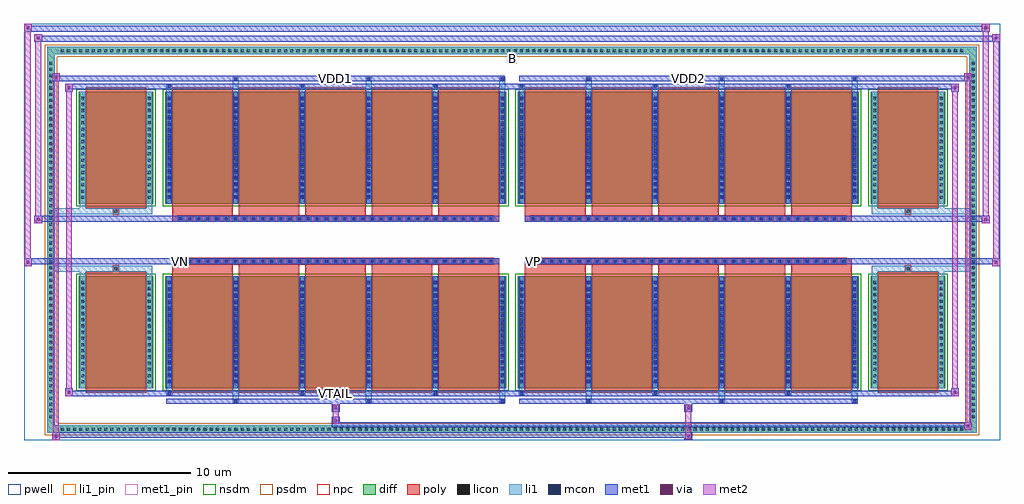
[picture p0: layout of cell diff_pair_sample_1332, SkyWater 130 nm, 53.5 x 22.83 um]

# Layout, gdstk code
import gdstk
lib = gdstk.Library(unit=1e-6, precision=5e-09)
def R(c, l, rs):  # rectangles x0, y0, x1, y1
    for r in rs: c.add(gdstk.rectangle(r[:2], r[2:], *l))
def A(c, l, x, y, w, h, nx, ny, dx, dy):  # array of equal rectangles
    R(c, l, [(x+i*dx, y+j*dy, x+i*dx+w, y+j*dy+h) for i in range(nx) for j in range(ny)])
def P(c, l, *ps):  # polygons
    for p in ps: c.add(gdstk.Polygon(p, *l))
pwell = (64, 44)
diff = (65, 20)
poly = (66, 20)
licon = (66, 44)
li1_pin = (67, 16)
li1 = (67, 20)
mcon = (67, 44)
met1_pin = (68, 16)
met1 = (68, 20)
via = (68, 44)
met2 = (69, 20)
nsdm = (93, 44)
psdm = (94, 20)
npc = (95, 20)

diff_pair_sample_1332 = lib.new_cell('diff_pair_sample_1332')
R(diff_pair_sample_1332, pwell, [(-26.75,-10.98,26.75,11.85), (-24.07,-9.17,-0.01,-0.805), (0.01,-9.17,24.07,-0.805), (-24.07,0.805,-0.01,9.17), (0.01,0.805,24.07,9.17)])
A(diff_pair_sample_1332, diff, -24.855, -10.58, 0.41, 0.41, 146, 2, 0.34, 20.75)
A(diff_pair_sample_1332, diff, -25.48, -9.895, 0.41, 0.41, 1, 58, 0, 0.34)
A(diff_pair_sample_1332, diff, 25.07, -9.895, 0.41, 0.41, 1, 58, 0, 0.34)
R(diff_pair_sample_1332, diff, [(-24.855,-10.58,24.855,-10.17), (-25.48,-9.895,-25.07,9.895), (25.07,-9.895,25.48,9.895), (-23.76,-8.125,-19.66,-1.985), (-19.02,-8.125,-0.32,-1.985), (0.32,-8.125,19.02,-1.985), (19.66,-8.125,23.76,-1.985), (-23.76,1.985,-19.66,8.125), (-19.02,1.985,-0.32,8.125), (0.32,1.985,19.02,8.125), (19.66,1.985,23.76,8.125), (-24.855,10.17,24.855,10.58)])
P(diff_pair_sample_1332, diff, [(25.48,10.58),(-25.48,10.58),(-25.48,-10.17),(-25.07,-10.17),(-25.07,10.17),(25.07,10.17),(25.07,-10.17),(-25.07,-10.17),(-25.48,-10.17),(-25.48,-10.58),(25.48,-10.58)])
A(diff_pair_sample_1332, poly, -18.63, -8.375, 3.32, 6.64, 5, 2, 3.65, 10.11)
A(diff_pair_sample_1332, poly, 0.71, -8.375, 3.32, 6.64, 5, 2, 3.65, 10.11)
A(diff_pair_sample_1332, poly, -18.63, -1.735, 3.32, 0.4, 5, 2, 3.65, 3.07)
A(diff_pair_sample_1332, poly, 0.71, -1.735, 3.32, 0.4, 5, 2, 3.65, 3.07)
A(diff_pair_sample_1332, poly, -18.335, -1.335, 0.33, 0.33, 35, 2, 0.5, 2.34)
A(diff_pair_sample_1332, poly, 1.005, -1.335, 0.33, 0.33, 35, 2, 0.5, 2.34)
R(diff_pair_sample_1332, poly, [(-23.37,-8.375,-20.05,-1.735), (20.05,-8.375,23.37,-1.735), (-21.875,-1.735,-21.545,-1.405), (-21.875,-1.735,-21.545,-1.405), (21.545,-1.735,21.875,-1.405), (21.545,-1.735,21.875,-1.405), (-18.63,-1.335,-0.71,-1.005), (0.71,-1.335,18.63,-1.005), (-18.63,1.005,-0.71,1.335), (0.71,1.005,18.63,1.335), (-21.875,1.405,-21.545,1.735), (-21.875,1.405,-21.545,1.735), (21.545,1.405,21.875,1.735), (21.545,1.405,21.875,1.735), (-23.37,1.735,-20.05,8.375), (20.05,1.735,23.37,8.375)])
A(diff_pair_sample_1332, licon, -24.735, -10.46, 0.17, 0.17, 146, 2, 0.34, 20.75)
A(diff_pair_sample_1332, licon, -25.36, -9.775, 0.17, 0.17, 1, 58, 0, 0.34)
A(diff_pair_sample_1332, licon, 25.19, -9.775, 0.17, 0.17, 1, 58, 0, 0.34)
A(diff_pair_sample_1332, licon, -23.62, -7.86, 0.17, 0.17, 1, 17, 0, 0.34)
A(diff_pair_sample_1332, licon, -19.97, -7.86, 0.17, 0.17, 1, 17, 0, 0.34)
A(diff_pair_sample_1332, licon, -18.88, -7.86, 0.17, 0.17, 6, 17, 3.65, 0.34)
A(diff_pair_sample_1332, licon, 0.46, -7.86, 0.17, 0.17, 6, 17, 3.65, 0.34)
A(diff_pair_sample_1332, licon, 19.8, -7.86, 0.17, 0.17, 1, 17, 0, 0.34)
A(diff_pair_sample_1332, licon, 23.45, -7.86, 0.17, 0.17, 1, 17, 0, 0.34)
A(diff_pair_sample_1332, licon, -18.255, -1.255, 0.17, 0.17, 35, 2, 0.5, 2.34)
A(diff_pair_sample_1332, licon, 1.085, -1.255, 0.17, 0.17, 35, 2, 0.5, 2.34)
A(diff_pair_sample_1332, licon, -23.62, 2.25, 0.17, 0.17, 1, 17, 0, 0.34)
A(diff_pair_sample_1332, licon, -19.97, 2.25, 0.17, 0.17, 1, 17, 0, 0.34)
A(diff_pair_sample_1332, licon, -18.88, 2.25, 0.17, 0.17, 6, 17, 3.65, 0.34)
A(diff_pair_sample_1332, licon, 0.46, 2.25, 0.17, 0.17, 6, 17, 3.65, 0.34)
A(diff_pair_sample_1332, licon, 19.8, 2.25, 0.17, 0.17, 1, 17, 0, 0.34)
A(diff_pair_sample_1332, licon, 23.45, 2.25, 0.17, 0.17, 1, 17, 0, 0.34)
R(diff_pair_sample_1332, licon, [(-21.795,-1.655,-21.625,-1.485), (21.625,-1.655,21.795,-1.485), (-21.795,1.485,-21.625,1.655), (21.625,1.485,21.795,1.655)])
R(diff_pair_sample_1332, li1_pin, [(-0.25,9.67,0.25,10.17)])
A(diff_pair_sample_1332, li1, -24.815, -10.54, 0.33, 0.33, 146, 2, 0.34, 20.75)
A(diff_pair_sample_1332, li1, -25.44, -9.855, 0.33, 0.33, 1, 58, 0, 0.34)
A(diff_pair_sample_1332, li1, 25.11, -9.855, 0.33, 0.33, 1, 58, 0, 0.34)
A(diff_pair_sample_1332, li1, -15.31, -8.93, 0.33, 0.805, 3, 2, 7.3, 17.055)
A(diff_pair_sample_1332, li1, -15.23, -8.93, 0.17, 0.17, 3, 2, 7.3, 17.69)
A(diff_pair_sample_1332, li1, 4.03, -8.93, 0.33, 0.805, 3, 2, 7.3, 17.055)
A(diff_pair_sample_1332, li1, 4.11, -8.93, 0.17, 0.17, 3, 2, 7.3, 17.69)
A(diff_pair_sample_1332, li1, -18.96, -8.5, 0.33, 0.375, 3, 2, 7.3, 16.625)
A(diff_pair_sample_1332, li1, -18.88, -8.5, 0.17, 0.17, 3, 2, 7.3, 16.83)
A(diff_pair_sample_1332, li1, 0.38, -8.5, 0.33, 0.375, 3, 2, 7.3, 16.625)
A(diff_pair_sample_1332, li1, 0.46, -8.5, 0.17, 0.17, 3, 2, 7.3, 16.83)
A(diff_pair_sample_1332, li1, -18.96, -8.125, 0.33, 6.14, 6, 2, 3.65, 10.11)
A(diff_pair_sample_1332, li1, 0.38, -8.125, 0.33, 6.14, 6, 2, 3.65, 10.11)
A(diff_pair_sample_1332, li1, -23.7, -7.94, 0.33, 0.33, 1, 17, 0, 0.34)
A(diff_pair_sample_1332, li1, -20.05, -7.94, 0.33, 0.33, 1, 17, 0, 0.34)
A(diff_pair_sample_1332, li1, -18.96, -7.94, 0.33, 0.33, 6, 17, 3.65, 0.34)
A(diff_pair_sample_1332, li1, 0.38, -7.94, 0.33, 0.33, 6, 17, 3.65, 0.34)
A(diff_pair_sample_1332, li1, 19.72, -7.94, 0.33, 0.33, 1, 17, 0, 0.34)
A(diff_pair_sample_1332, li1, 23.37, -7.94, 0.33, 0.33, 1, 17, 0, 0.34)
A(diff_pair_sample_1332, li1, -18.88, -7.84, 0.17, 0.17, 6, 16, 3.65, 0.36)
A(diff_pair_sample_1332, li1, -18.88, -7.84, 0.17, 5.57, 6, 2, 3.65, 10.11)
A(diff_pair_sample_1332, li1, 0.46, -7.84, 0.17, 0.17, 6, 16, 3.65, 0.36)
A(diff_pair_sample_1332, li1, 0.46, -7.84, 0.17, 5.57, 6, 2, 3.65, 10.11)
A(diff_pair_sample_1332, li1, -18.335, -1.335, 0.33, 0.33, 35, 2, 0.5, 2.34)
A(diff_pair_sample_1332, li1, 1.005, -1.335, 0.33, 0.33, 35, 2, 0.5, 2.34)
A(diff_pair_sample_1332, li1, -23.7, 2.17, 0.33, 0.33, 1, 17, 0, 0.34)
A(diff_pair_sample_1332, li1, -20.05, 2.17, 0.33, 0.33, 1, 17, 0, 0.34)
A(diff_pair_sample_1332, li1, -18.96, 2.17, 0.33, 0.33, 6, 17, 3.65, 0.34)
A(diff_pair_sample_1332, li1, 0.38, 2.17, 0.33, 0.33, 6, 17, 3.65, 0.34)
A(diff_pair_sample_1332, li1, 19.72, 2.17, 0.33, 0.33, 1, 17, 0, 0.34)
A(diff_pair_sample_1332, li1, 23.37, 2.17, 0.33, 0.33, 1, 17, 0, 0.34)
A(diff_pair_sample_1332, li1, -18.88, 2.27, 0.17, 0.17, 6, 16, 3.65, 0.36)
A(diff_pair_sample_1332, li1, 0.46, 2.27, 0.17, 0.17, 6, 16, 3.65, 0.36)
R(diff_pair_sample_1332, li1, [(-25.48,-10.58,-25.07,-10.17), (-25.48,-10.58,-25.07,-10.17), (-25.07,-10.58,25.07,-10.17), (25.07,-10.58,25.48,-10.17), (25.07,-10.58,25.48,-10.17), (-25.48,-10.17,-25.07,10.17), (25.07,-10.17,25.48,10.17), (-23.7,-8.125,-23.37,-1.985), (-20.05,-8.125,-19.72,-1.985), (19.72,-8.125,20.05,-1.985), (23.37,-8.125,23.7,-1.985), (-23.7,-1.985,-23.37,-1.405), (-20.05,-1.985,-19.72,-1.405), (19.72,-1.985,20.05,-1.405), (23.37,-1.985,23.7,-1.405), (-25.48,-1.735,-21.875,-1.405), (-23.7,-1.735,-21.875,-1.405), (-21.875,-1.735,-21.545,-1.405), (-21.545,-1.735,-19.72,-1.405), (19.72,-1.735,21.545,-1.405), (21.545,-1.735,21.875,-1.405), (21.545,-1.735,25.48,-1.405), (21.875,-1.735,23.7,-1.405), (-25.48,1.405,-21.875,1.735), (-23.7,1.405,-21.875,1.735), (-23.7,1.405,-23.37,1.985), (-21.875,1.405,-21.545,1.735), (-21.545,1.405,-19.72,1.735), (-20.05,1.405,-19.72,1.985), (19.72,1.405,21.545,1.735), (19.72,1.405,20.05,1.985), (21.545,1.405,21.875,1.735), (21.545,1.405,25.48,1.735), (21.875,1.405,23.7,1.735), (23.37,1.405,23.7,1.985), (-23.7,1.985,-23.37,8.125), (-20.05,1.985,-19.72,8.125), (19.72,1.985,20.05,8.125), (23.37,1.985,23.7,8.125), (-25.48,10.17,-25.07,10.58), (-25.48,10.17,-25.07,10.58), (-25.07,10.17,25.07,10.58), (25.07,10.17,25.48,10.58), (25.07,10.17,25.48,10.58)])
A(diff_pair_sample_1332, mcon, -15.23, -8.93, 0.17, 0.17, 3, 2, 7.3, 17.69)
A(diff_pair_sample_1332, mcon, 4.11, -8.93, 0.17, 0.17, 3, 2, 7.3, 17.69)
A(diff_pair_sample_1332, mcon, -18.88, -8.5, 0.17, 0.17, 3, 2, 7.3, 16.83)
A(diff_pair_sample_1332, mcon, 0.46, -8.5, 0.17, 0.17, 3, 2, 7.3, 16.83)
A(diff_pair_sample_1332, mcon, -18.88, -7.84, 0.17, 0.17, 6, 16, 3.65, 0.36)
A(diff_pair_sample_1332, mcon, 0.46, -7.84, 0.17, 0.17, 6, 16, 3.65, 0.36)
A(diff_pair_sample_1332, mcon, -18.255, -1.255, 0.17, 0.17, 35, 2, 0.5, 2.34)
A(diff_pair_sample_1332, mcon, 1.085, -1.255, 0.17, 0.17, 35, 2, 0.5, 2.34)
A(diff_pair_sample_1332, mcon, -18.88, 2.27, 0.17, 0.17, 6, 16, 3.65, 0.36)
A(diff_pair_sample_1332, mcon, 0.46, 2.27, 0.17, 0.17, 6, 16, 3.65, 0.36)
R(diff_pair_sample_1332, met1_pin, [(-9.805,-8.54,-9.535,-8.27), (-18.305,-1.295,-18.035,-1.025), (1.035,-1.295,1.305,-1.025), (-9.805,8.72,-9.535,8.99), (9.535,8.72,9.805,8.99)])
A(diff_pair_sample_1332, met1, -15.29, -8.99, 0.29, 0.29, 3, 2, 7.3, 17.69)
A(diff_pair_sample_1332, met1, 4.05, -8.99, 0.29, 0.29, 3, 2, 7.3, 17.69)
A(diff_pair_sample_1332, met1, -18.94, -8.56, 0.29, 0.29, 3, 2, 7.3, 16.83)
A(diff_pair_sample_1332, met1, 0.4, -8.56, 0.29, 0.29, 3, 2, 7.3, 16.83)
A(diff_pair_sample_1332, met1, -18.94, -8.125, 0.29, 6.14, 6, 2, 3.65, 10.11)
A(diff_pair_sample_1332, met1, 0.4, -8.125, 0.29, 6.14, 6, 2, 3.65, 10.11)
A(diff_pair_sample_1332, met1, -18.94, -7.9, 0.29, 0.29, 6, 16, 3.65, 0.36)
A(diff_pair_sample_1332, met1, 0.4, -7.9, 0.29, 0.29, 6, 16, 3.65, 0.36)
A(diff_pair_sample_1332, met1, -18.315, -1.315, 0.29, 0.29, 35, 2, 0.5, 2.34)
A(diff_pair_sample_1332, met1, 1.025, -1.315, 0.29, 0.29, 35, 2, 0.5, 2.34)
A(diff_pair_sample_1332, met1, -18.94, 2.21, 0.29, 0.29, 6, 16, 3.65, 0.36)
A(diff_pair_sample_1332, met1, 0.4, 2.21, 0.29, 0.29, 6, 16, 3.65, 0.36)
R(diff_pair_sample_1332, met1, [(-25.21,-10.98,-24.78,-10.55), (9.455,-10.98,9.885,-10.55), (-25.21,-10.84,9.885,-10.55), (24.78,-10.41,25.21,-9.98), (-9.885,-10.27,25.21,-9.98), (-9.885,-10.13,-9.455,-9.7), (-9.885,-9.42,-9.455,-8.99), (9.455,-9.42,9.885,-8.99), (-18.94,-8.99,-0.4,-8.7), (0.4,-8.99,18.94,-8.7), (-24.5,-8.56,-24.07,-8.13), (-24.5,-8.56,-18.94,-8.27), (-18.94,-8.56,-0.4,-8.27), (-0.4,-8.56,0.4,-8.27), (0.4,-8.56,18.94,-8.27), (18.94,-8.56,24.5,-8.27), (24.07,-8.56,24.5,-8.13), (-26.75,-1.435,-26.32,-1.005), (26.32,-1.435,26.75,-1.005), (-26.75,-1.335,-0.71,-1.005), (-18.63,-1.335,-0.71,-1.005), (0.71,-1.335,18.63,-1.005), (0.71,-1.335,26.75,-1.005), (-26.18,0.905,-25.75,1.335), (25.75,0.905,26.18,1.335), (-26.18,1.005,-18.63,1.335), (-18.63,1.005,-0.71,1.335), (0.71,1.005,18.63,1.335), (18.63,1.005,26.18,1.335), (-24.5,8.13,-24.07,8.56), (24.07,8.13,24.5,8.56), (-24.5,8.27,-18.94,8.56), (-18.94,8.27,-0.4,8.56), (-0.4,8.27,0.4,8.56), (0.4,8.27,18.94,8.56), (18.94,8.27,24.5,8.56), (-25.21,8.7,-24.78,9.13), (-25.21,8.7,-18.94,8.99), (-18.94,8.7,-0.4,8.99), (0.4,8.7,18.94,8.99), (18.94,8.7,25.21,8.99), (24.78,8.7,25.21,9.13), (-26.18,10.85,-25.75,11.28), (-26.18,10.85,-24.07,11.18), (-24.07,10.85,24.07,11.18), (24.07,10.85,26.75,11.18), (26.32,10.85,26.75,11.28), (-26.75,11.42,-26.32,11.85), (-26.75,11.42,-24.07,11.75), (-24.07,11.42,24.07,11.75), (24.07,11.42,26.18,11.75), (25.75,11.42,26.18,11.85)])
R(diff_pair_sample_1332, via, [(-25.07,-10.84,-24.92,-10.69), (9.595,-10.84,9.745,-10.69), (24.92,-10.27,25.07,-10.12), (-9.745,-9.99,-9.595,-9.84), (-9.745,-9.28,-9.595,-9.13), (9.595,-9.28,9.745,-9.13), (-24.36,-8.42,-24.21,-8.27), (24.21,-8.42,24.36,-8.27), (-26.61,-1.295,-26.46,-1.145), (26.46,-1.295,26.61,-1.145), (-26.04,1.045,-25.89,1.195), (25.89,1.045,26.04,1.195), (-24.36,8.27,-24.21,8.42), (24.21,8.27,24.36,8.42), (-25.07,8.84,-24.92,8.99), (24.92,8.84,25.07,8.99), (-26.04,10.99,-25.89,11.14), (26.46,10.99,26.61,11.14), (-26.61,11.56,-26.46,11.71), (25.89,11.56,26.04,11.71)])
R(diff_pair_sample_1332, met2, [(-25.21,-10.98,-24.78,-10.55), (-25.14,-10.98,-24.85,9.13), (-24.85,-10.98,-24.78,-10.55), (-25.16,-10.93,-24.83,-10.6), (9.505,-10.93,9.835,-10.6), (9.505,-10.6,9.835,-9.37), (24.78,-10.41,25.21,-9.98), (24.85,-10.41,25.14,9.13), (25.14,-10.41,25.21,-9.98), (24.83,-10.36,25.16,-10.03), (-9.835,-10.08,-9.505,-9.75), (-9.835,-9.75,-9.505,-9.37), (-9.835,-9.37,-9.505,-9.04), (9.505,-9.37,9.835,-9.04), (-24.5,-8.56,-24.07,-8.13), (-24.43,-8.56,-24.14,8.56), (-24.14,-8.56,-24.07,-8.13), (24.07,-8.56,24.5,-8.13), (24.14,-8.56,24.43,8.56), (24.43,-8.56,24.5,-8.13), (-24.45,-8.51,-24.12,-8.18), (24.12,-8.51,24.45,-8.18), (-26.75,-1.435,-26.32,-1.005), (-26.7,-1.435,-26.37,11.85), (-26.37,-1.435,-26.32,-1.005), (26.32,-1.435,26.75,-1.005), (26.37,-1.435,26.7,11.28), (26.7,-1.435,26.75,-1.005), (-26.7,-1.385,-26.37,-1.055), (26.37,-1.385,26.7,-1.055), (-26.18,0.905,-25.75,1.335), (-26.13,0.905,-25.8,11.28), (-25.8,0.905,-25.75,1.335), (25.75,0.905,26.18,1.335), (25.8,0.905,26.13,11.85), (26.13,0.905,26.18,1.335), (-26.13,0.955,-25.8,1.285), (25.8,0.955,26.13,1.285), (-24.5,8.13,-24.07,8.56), (-24.14,8.13,-24.07,8.56), (24.07,8.13,24.5,8.56), (24.43,8.13,24.5,8.56), (-24.45,8.18,-24.12,8.51), (24.12,8.18,24.45,8.51), (-25.21,8.7,-24.78,9.13), (-24.85,8.7,-24.78,9.13), (24.78,8.7,25.21,9.13), (25.14,8.7,25.21,9.13), (-25.16,8.75,-24.83,9.08), (24.83,8.75,25.16,9.08), (-26.18,10.85,-25.75,11.28), (-25.8,10.85,-25.75,11.28), (26.32,10.85,26.75,11.28), (26.7,10.85,26.75,11.28), (-26.13,10.9,-25.8,11.23), (26.37,10.9,26.7,11.23), (-26.75,11.42,-26.32,11.85), (-26.37,11.42,-26.32,11.85), (25.75,11.42,26.18,11.85), (26.13,11.42,26.18,11.85), (-26.7,11.47,-26.37,11.8), (25.8,11.47,26.13,11.8)])
R(diff_pair_sample_1332, nsdm, [(-23.89,-8.255,-19.53,-1.855), (-19.15,-8.255,-0.19,-1.855), (0.19,-8.255,19.15,-1.855), (19.53,-8.255,23.89,-1.855), (-23.89,1.855,-19.53,8.255), (-19.15,1.855,-0.19,8.255), (0.19,1.855,19.15,8.255), (19.53,1.855,23.89,8.255)])
P(diff_pair_sample_1332, psdm, [(25.61,10.71),(-25.61,10.71),(-25.61,-10.04),(-24.94,-10.04),(-24.94,10.04),(24.94,10.04),(24.94,-10.04),(-24.94,-10.04),(-25.61,-10.04),(-25.61,-10.71),(25.61,-10.71)])
A(diff_pair_sample_1332, npc, -18.355, -1.355, 0.37, 0.37, 35, 2, 0.5, 2.34)
A(diff_pair_sample_1332, npc, 0.985, -1.355, 0.37, 0.37, 35, 2, 0.5, 2.34)
R(diff_pair_sample_1332, npc, [(-21.895,-1.755,-21.525,-1.385), (21.525,-1.755,21.895,-1.385), (-18.355,-1.355,-17.485,-0.985), (-18.355,-1.355,-17.485,-0.985), (-17.855,-1.355,-16.985,-0.985), (-17.855,-1.355,-16.985,-0.985), (-17.355,-1.355,-16.485,-0.985), (-17.355,-1.355,-16.485,-0.985), (-16.855,-1.355,-15.985,-0.985), (-16.855,-1.355,-15.985,-0.985), (-16.355,-1.355,-15.485,-0.985), (-16.355,-1.355,-15.485,-0.985), (-15.855,-1.355,-14.985,-0.985), (-15.855,-1.355,-14.985,-0.985), (-15.355,-1.355,-14.485,-0.985), (-15.355,-1.355,-14.485,-0.985), (-14.855,-1.355,-13.985,-0.985), (-14.855,-1.355,-13.985,-0.985), (-14.355,-1.355,-13.485,-0.985), (-14.355,-1.355,-13.485,-0.985), (-13.855,-1.355,-12.985,-0.985), (-13.855,-1.355,-12.985,-0.985), (-13.355,-1.355,-12.485,-0.985), (-13.355,-1.355,-12.485,-0.985), (-12.855,-1.355,-11.985,-0.985), (-12.855,-1.355,-11.985,-0.985), (-12.355,-1.355,-11.485,-0.985), (-12.355,-1.355,-11.485,-0.985), (-11.855,-1.355,-10.985,-0.985), (-11.855,-1.355,-10.985,-0.985), (-11.355,-1.355,-10.485,-0.985), (-11.355,-1.355,-10.485,-0.985), (-10.855,-1.355,-9.985,-0.985), (-10.855,-1.355,-9.985,-0.985), (-10.355,-1.355,-9.485,-0.985), (-10.355,-1.355,-9.485,-0.985), (-9.855,-1.355,-8.985,-0.985), (-9.855,-1.355,-8.985,-0.985), (-9.355,-1.355,-8.485,-0.985), (-9.355,-1.355,-8.485,-0.985), (-8.855,-1.355,-7.985,-0.985), (-8.855,-1.355,-7.985,-0.985), (-8.355,-1.355,-7.485,-0.985), (-8.355,-1.355,-7.485,-0.985), (-7.855,-1.355,-6.985,-0.985), (-7.855,-1.355,-6.985,-0.985), (-7.355,-1.355,-6.485,-0.985), (-7.355,-1.355,-6.485,-0.985), (-6.855,-1.355,-5.985,-0.985), (-6.855,-1.355,-5.985,-0.985), (-6.355,-1.355,-5.485,-0.985), (-6.355,-1.355,-5.485,-0.985), (-5.855,-1.355,-4.985,-0.985), (-5.855,-1.355,-4.985,-0.985), (-5.355,-1.355,-4.485,-0.985), (-5.355,-1.355,-4.485,-0.985), (-4.855,-1.355,-3.985,-0.985), (-4.855,-1.355,-3.985,-0.985), (-4.355,-1.355,-3.485,-0.985), (-4.355,-1.355,-3.485,-0.985), (-3.855,-1.355,-2.985,-0.985), (-3.855,-1.355,-2.985,-0.985), (-3.355,-1.355,-2.485,-0.985), (-3.355,-1.355,-2.485,-0.985), (-2.855,-1.355,-1.985,-0.985), (-2.855,-1.355,-1.985,-0.985), (-2.355,-1.355,-1.485,-0.985), (-2.355,-1.355,-1.485,-0.985), (-1.855,-1.355,-0.985,-0.985), (-1.855,-1.355,-0.985,-0.985), (0.985,-1.355,1.855,-0.985), (0.985,-1.355,1.855,-0.985), (1.485,-1.355,2.355,-0.985), (1.485,-1.355,2.355,-0.985), (1.985,-1.355,2.855,-0.985), (1.985,-1.355,2.855,-0.985), (2.485,-1.355,3.355,-0.985), (2.485,-1.355,3.355,-0.985), (2.985,-1.355,3.855,-0.985), (2.985,-1.355,3.855,-0.985), (3.485,-1.355,4.355,-0.985), (3.485,-1.355,4.355,-0.985), (3.985,-1.355,4.855,-0.985), (3.985,-1.355,4.855,-0.985), (4.485,-1.355,5.355,-0.985), (4.485,-1.355,5.355,-0.985), (4.985,-1.355,5.855,-0.985), (4.985,-1.355,5.855,-0.985), (5.485,-1.355,6.355,-0.985), (5.485,-1.355,6.355,-0.985), (5.985,-1.355,6.855,-0.985), (5.985,-1.355,6.855,-0.985), (6.485,-1.355,7.355,-0.985), (6.485,-1.355,7.355,-0.985), (6.985,-1.355,7.855,-0.985), (6.985,-1.355,7.855,-0.985), (7.485,-1.355,8.355,-0.985), (7.485,-1.355,8.355,-0.985), (7.985,-1.355,8.855,-0.985), (7.985,-1.355,8.855,-0.985), (8.485,-1.355,9.355,-0.985), (8.485,-1.355,9.355,-0.985), (8.985,-1.355,9.855,-0.985), (8.985,-1.355,9.855,-0.985), (9.485,-1.355,10.355,-0.985), (9.485,-1.355,10.355,-0.985), (9.985,-1.355,10.855,-0.985), (9.985,-1.355,10.855,-0.985), (10.485,-1.355,11.355,-0.985), (10.485,-1.355,11.355,-0.985), (10.985,-1.355,11.855,-0.985), (10.985,-1.355,11.855,-0.985), (11.485,-1.355,12.355,-0.985), (11.485,-1.355,12.355,-0.985), (11.985,-1.355,12.855,-0.985), (11.985,-1.355,12.855,-0.985), (12.485,-1.355,13.355,-0.985), (12.485,-1.355,13.355,-0.985), (12.985,-1.355,13.855,-0.985), (12.985,-1.355,13.855,-0.985), (13.485,-1.355,14.355,-0.985), (13.485,-1.355,14.355,-0.985), (13.985,-1.355,14.855,-0.985), (13.985,-1.355,14.855,-0.985), (14.485,-1.355,15.355,-0.985), (14.485,-1.355,15.355,-0.985), (14.985,-1.355,15.855,-0.985), (14.985,-1.355,15.855,-0.985), (15.485,-1.355,16.355,-0.985), (15.485,-1.355,16.355,-0.985), (15.985,-1.355,16.855,-0.985), (15.985,-1.355,16.855,-0.985), (16.485,-1.355,17.355,-0.985), (16.485,-1.355,17.355,-0.985), (16.985,-1.355,17.855,-0.985), (16.985,-1.355,17.855,-0.985), (17.485,-1.355,18.355,-0.985), (17.485,-1.355,18.355,-0.985), (-18.355,0.985,-17.485,1.355), (-18.355,0.985,-17.485,1.355), (-17.855,0.985,-16.985,1.355), (-17.855,0.985,-16.985,1.355), (-17.355,0.985,-16.485,1.355), (-17.355,0.985,-16.485,1.355), (-16.855,0.985,-15.985,1.355), (-16.855,0.985,-15.985,1.355), (-16.355,0.985,-15.485,1.355), (-16.355,0.985,-15.485,1.355), (-15.855,0.985,-14.985,1.355), (-15.855,0.985,-14.985,1.355), (-15.355,0.985,-14.485,1.355), (-15.355,0.985,-14.485,1.355), (-14.855,0.985,-13.985,1.355), (-14.855,0.985,-13.985,1.355), (-14.355,0.985,-13.485,1.355), (-14.355,0.985,-13.485,1.355), (-13.855,0.985,-12.985,1.355), (-13.855,0.985,-12.985,1.355), (-13.355,0.985,-12.485,1.355), (-13.355,0.985,-12.485,1.355), (-12.855,0.985,-11.985,1.355), (-12.855,0.985,-11.985,1.355), (-12.355,0.985,-11.485,1.355), (-12.355,0.985,-11.485,1.355), (-11.855,0.985,-10.985,1.355), (-11.855,0.985,-10.985,1.355), (-11.355,0.985,-10.485,1.355), (-11.355,0.985,-10.485,1.355), (-10.855,0.985,-9.985,1.355), (-10.855,0.985,-9.985,1.355), (-10.355,0.985,-9.485,1.355), (-10.355,0.985,-9.485,1.355), (-9.855,0.985,-8.985,1.355), (-9.855,0.985,-8.985,1.355), (-9.355,0.985,-8.485,1.355), (-9.355,0.985,-8.485,1.355), (-8.855,0.985,-7.985,1.355), (-8.855,0.985,-7.985,1.355), (-8.355,0.985,-7.485,1.355), (-8.355,0.985,-7.485,1.355), (-7.855,0.985,-6.985,1.355), (-7.855,0.985,-6.985,1.355), (-7.355,0.985,-6.485,1.355), (-7.355,0.985,-6.485,1.355), (-6.855,0.985,-5.985,1.355), (-6.855,0.985,-5.985,1.355), (-6.355,0.985,-5.485,1.355), (-6.355,0.985,-5.485,1.355), (-5.855,0.985,-4.985,1.355), (-5.855,0.985,-4.985,1.355), (-5.355,0.985,-4.485,1.355), (-5.355,0.985,-4.485,1.355), (-4.855,0.985,-3.985,1.355), (-4.855,0.985,-3.985,1.355), (-4.355,0.985,-3.485,1.355), (-4.355,0.985,-3.485,1.355), (-3.855,0.985,-2.985,1.355), (-3.855,0.985,-2.985,1.355), (-3.355,0.985,-2.485,1.355), (-3.355,0.985,-2.485,1.355), (-2.855,0.985,-1.985,1.355), (-2.855,0.985,-1.985,1.355), (-2.355,0.985,-1.485,1.355), (-2.355,0.985,-1.485,1.355), (-1.855,0.985,-0.985,1.355), (-1.855,0.985,-0.985,1.355), (0.985,0.985,1.855,1.355), (0.985,0.985,1.855,1.355), (1.485,0.985,2.355,1.355), (1.485,0.985,2.355,1.355), (1.985,0.985,2.855,1.355), (1.985,0.985,2.855,1.355), (2.485,0.985,3.355,1.355), (2.485,0.985,3.355,1.355), (2.985,0.985,3.855,1.355), (2.985,0.985,3.855,1.355), (3.485,0.985,4.355,1.355), (3.485,0.985,4.355,1.355), (3.985,0.985,4.855,1.355), (3.985,0.985,4.855,1.355), (4.485,0.985,5.355,1.355), (4.485,0.985,5.355,1.355), (4.985,0.985,5.855,1.355), (4.985,0.985,5.855,1.355), (5.485,0.985,6.355,1.355), (5.485,0.985,6.355,1.355), (5.985,0.985,6.855,1.355), (5.985,0.985,6.855,1.355), (6.485,0.985,7.355,1.355), (6.485,0.985,7.355,1.355), (6.985,0.985,7.855,1.355), (6.985,0.985,7.855,1.355), (7.485,0.985,8.355,1.355), (7.485,0.985,8.355,1.355), (7.985,0.985,8.855,1.355), (7.985,0.985,8.855,1.355), (8.485,0.985,9.355,1.355), (8.485,0.985,9.355,1.355), (8.985,0.985,9.855,1.355), (8.985,0.985,9.855,1.355), (9.485,0.985,10.355,1.355), (9.485,0.985,10.355,1.355), (9.985,0.985,10.855,1.355), (9.985,0.985,10.855,1.355), (10.485,0.985,11.355,1.355), (10.485,0.985,11.355,1.355), (10.985,0.985,11.855,1.355), (10.985,0.985,11.855,1.355), (11.485,0.985,12.355,1.355), (11.485,0.985,12.355,1.355), (11.985,0.985,12.855,1.355), (11.985,0.985,12.855,1.355), (12.485,0.985,13.355,1.355), (12.485,0.985,13.355,1.355), (12.985,0.985,13.855,1.355), (12.985,0.985,13.855,1.355), (13.485,0.985,14.355,1.355), (13.485,0.985,14.355,1.355), (13.985,0.985,14.855,1.355), (13.985,0.985,14.855,1.355), (14.485,0.985,15.355,1.355), (14.485,0.985,15.355,1.355), (14.985,0.985,15.855,1.355), (14.985,0.985,15.855,1.355), (15.485,0.985,16.355,1.355), (15.485,0.985,16.355,1.355), (15.985,0.985,16.855,1.355), (15.985,0.985,16.855,1.355), (16.485,0.985,17.355,1.355), (16.485,0.985,17.355,1.355), (16.985,0.985,17.855,1.355), (16.985,0.985,17.855,1.355), (17.485,0.985,18.355,1.355), (17.485,0.985,18.355,1.355), (-21.895,1.385,-21.525,1.755), (21.525,1.385,21.895,1.755)])
diff_pair_sample_1332.add(gdstk.Label('VTAIL', (-9.67,-8.405), layer=68, texttype=5))
diff_pair_sample_1332.add(gdstk.Label('VN', (-18.17,-1.16), layer=68, texttype=5))
diff_pair_sample_1332.add(gdstk.Label('VP', (1.17,-1.16), layer=68, texttype=5))
diff_pair_sample_1332.add(gdstk.Label('B', (0,9.92), layer=67, texttype=5))
diff_pair_sample_1332.add(gdstk.Label('VDD2', (9.67,8.855), layer=68, texttype=5))
diff_pair_sample_1332.add(gdstk.Label('VDD1', (-9.67,8.855), layer=68, texttype=5))

lib.write_gds('diff_pair_sample_1332.gds')
